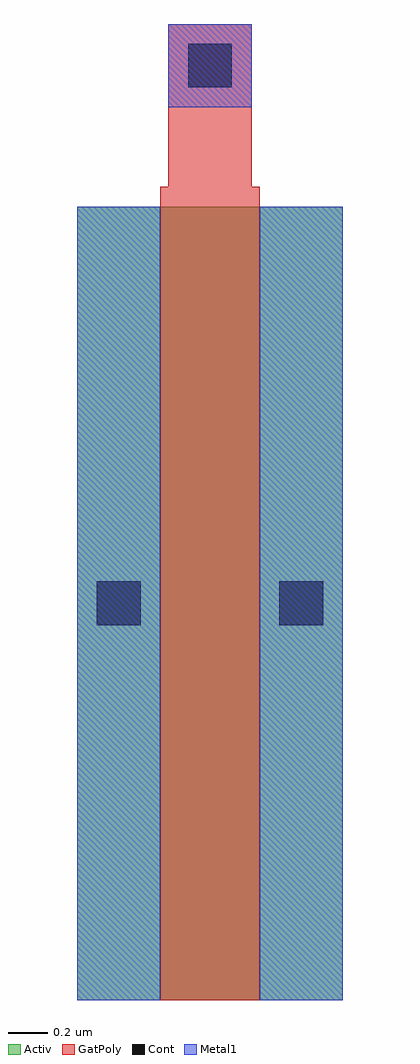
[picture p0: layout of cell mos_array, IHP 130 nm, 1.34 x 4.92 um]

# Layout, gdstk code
import gdstk
lib = gdstk.Library(unit=1e-6, precision=1e-09)
def R(c, l, rs):  # rectangles x0, y0, x1, y1
    for r in rs: c.add(gdstk.rectangle(r[:2], r[2:], *l))
Activ = (1, 0)
GatPoly = (5, 0)
Cont = (6, 0)
Metal1 = (8, 0)

mos_array = lib.new_cell('mos_array')
R(mos_array, Activ, [(0,0,1.34,4)])
R(mos_array, GatPoly, [(0.42,0,0.92,4), (0.42,4,0.92,4.1), (0.46,4.1,0.88,4.92)])
R(mos_array, Cont, [(0.1,1.89,0.32,2.11), (1.02,1.89,1.24,2.11), (0.56,4.6,0.78,4.82)])
R(mos_array, Metal1, [(0,0,0.42,4), (0.92,0,1.34,4), (0.46,4.5,0.88,4.92)])

lib.write_gds('mos_array.gds')
